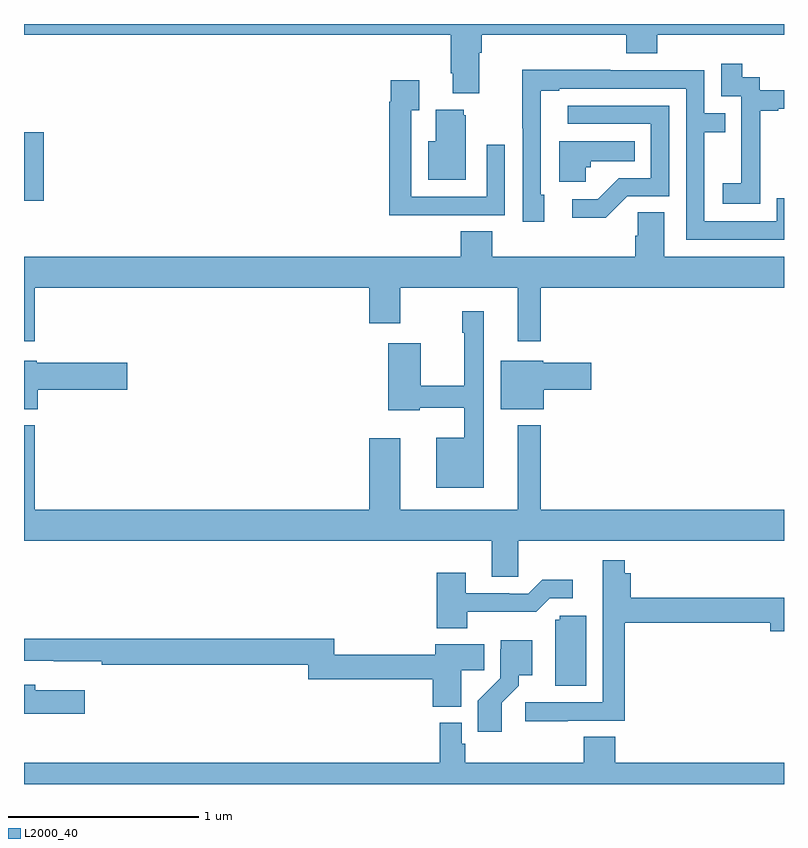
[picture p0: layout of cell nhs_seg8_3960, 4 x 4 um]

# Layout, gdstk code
import gdstk
lib = gdstk.Library(unit=1e-6, precision=1e-09)
def R(c, l, rs):  # rectangles x0, y0, x1, y1
    for r in rs: c.add(gdstk.rectangle(r[:2], r[2:], *l))
def P(c, l, *ps):  # polygons
    for p in ps: c.add(gdstk.Polygon(p, *l))
L2000_40 = (2000, 40)

nhs_seg8_3960 = lib.new_cell('nhs_seg8_3960')
R(nhs_seg8_3960, L2000_40, [(355,1104.97,355.103,1105.33)])
P(nhs_seg8_3960, L2000_40, [(357.397,1105.748),(357.41,1105.748),(357.41,1105.844),(358.169,1105.844),(358.169,1105.745),(358.334,1105.745),(358.334,1105.844),(359,1105.844),(359,1105.9),(355,1105.9),(355,1105.844),(357.245,1105.844),(357.245,1105.642),(357.257,1105.642),(357.257,1105.535),(357.397,1105.535)],
  [(358.875,1105.159),(358.874,1105.159),(358.874,1105.443),(358.969,1105.443),(358.969,1105.455),(359,1105.455),(359,1105.551),(358.872,1105.551),(358.872,1105.62),(358.78,1105.62),(358.78,1105.69),(358.671,1105.69),(358.671,1105.521),(358.776,1105.521),(358.776,1105.292),(358.775,1105.292),(358.775,1105.063),(358.677,1105.063),(358.677,1104.953),(358.875,1104.953)],
  [(359,1104.984),(358.962,1104.984),(358.962,1104.861),(358.581,1104.861),(358.581,1105.33),(358.691,1105.33),(358.691,1105.431),(358.581,1105.431),(358.581,1105.656),(358.085,1105.656),(358.085,1105.658),(357.622,1105.658),(357.622,1105.351),(357.624,1105.351),(357.624,1104.858),(357.739,1104.858),(357.739,1105.002),(357.72,1105.002),(357.72,1105.548),(357.817,1105.548),(357.817,1105.56),(358.485,1105.56),(358.485,1104.765),(359,1104.765)],
  [(357.215,1104.894),(357.531,1104.894),(357.531,1105.264),(357.435,1105.264),(357.435,1104.99),(357.039,1104.99),(357.039,1105.447),(357.079,1105.447),(357.079,1105.603),(356.931,1105.603),(356.931,1105.49),(356.923,1105.49),(356.923,1104.893),(357.215,1104.893)],
  [(358.176,1104.993),(358.395,1104.993),(358.395,1105.47),(357.861,1105.47),(357.861,1105.374),(358.299,1105.374),(358.299,1105.089),(358.13,1105.089),(358.019,1104.978),(357.885,1104.978),(357.885,1104.881),(358.063,1104.881)],
  [(357.325,1105.419),(357.314,1105.419),(357.314,1105.45),(357.167,1105.45),(357.167,1105.282),(357.128,1105.282),(357.128,1105.079),(357.325,1105.079)],
  [(357.957,1105.146),(357.984,1105.146),(357.984,1105.178),(358.214,1105.178),(358.214,1105.282),(357.818,1105.282),(357.818,1105.07),(357.957,1105.07)],
  [(355.057,1104.512),(356.816,1104.512),(356.816,1104.324),(356.98,1104.324),(356.98,1104.512),(357.599,1104.512),(357.599,1104.231),(357.721,1104.231),(357.721,1104.512),(359,1104.512),(359,1104.676),(358.369,1104.676),(358.369,1104.908),(358.23,1104.908),(358.23,1104.785),(358.217,1104.785),(358.217,1104.676),(357.464,1104.676),(357.464,1104.809),(357.299,1104.809),(357.299,1104.676),(355,1104.676),(355,1104.231),(355.057,1104.231)],
  [(357.421,1104.388),(357.307,1104.388),(357.307,1104.275),(357.317,1104.275),(357.317,1103.996),(357.088,1103.996),(357.088,1104.22),(356.918,1104.22),(356.918,1103.867),(357.084,1103.867),(357.084,1103.879),(357.317,1103.879),(357.317,1103.722),(357.17,1103.722),(357.17,1103.459),(357.421,1103.459)],
  [(355.072,1103.975),(355.543,1103.975),(355.543,1104.117),(355.068,1104.117),(355.068,1104.127),(355,1104.127),(355,1103.873),(355.072,1103.873)],
  [(357.736,1103.975),(357.985,1103.975),(357.985,1104.117),(357.732,1104.117),(357.732,1104.127),(357.509,1104.127),(357.509,1103.873),(357.736,1103.873)],
  [(357.6,1103.18),(359,1103.18),(359,1103.344),(357.721,1103.344),(357.721,1103.788),(357.599,1103.788),(357.599,1103.344),(356.98,1103.344),(356.98,1103.719),(356.816,1103.719),(356.816,1103.344),(355.057,1103.344),(355.057,1103.788),(355,1103.788),(355,1103.18),(357.461,1103.18),(357.461,1102.99),(357.6,1102.99)],
  [(357.863,1102.233),(358.163,1102.233),(358.163,1102.75),(358.928,1102.75),(358.928,1102.703),(359,1102.703),(359,1102.879),(358.193,1102.879),(358.193,1103.008),(358.163,1103.008),(358.163,1103.077),(358.047,1103.077),(358.047,1102.329),(357.639,1102.329),(357.639,1102.231),(357.863,1102.231)],
  [(357.333,1102.806),(357.695,1102.806),(357.768,1102.878),(357.889,1102.878),(357.889,1102.975),(357.727,1102.975),(357.654,1102.902),(357.554,1102.902),(357.554,1102.905),(357.325,1102.905),(357.325,1103.011),(357.173,1103.011),(357.173,1102.721),(357.333,1102.721)],
  [(357.958,1102.785),(357.819,1102.785),(357.819,1102.764),(357.797,1102.764),(357.797,1102.416),(357.958,1102.416)],
  [(357.301,1102.498),(357.422,1102.498),(357.422,1102.636),(357.164,1102.636),(357.164,1102.58),(356.633,1102.58),(356.633,1102.664),(355,1102.664),(355,1102.548),(355.156,1102.548),(355.156,1102.547),(355.408,1102.547),(355.408,1102.528),(356.497,1102.528),(356.497,1102.452),(357.152,1102.452),(357.152,1102.307),(357.301,1102.307)],
  [(357.514,1102.327),(357.604,1102.417),(357.604,1102.472),(357.676,1102.472),(357.676,1102.657),(357.509,1102.657),(357.509,1102.608),(357.507,1102.608),(357.507,1102.457),(357.388,1102.338),(357.388,1102.176),(357.514,1102.176)],
  [(355.321,1102.393),(355.06,1102.393),(355.06,1102.422),(355,1102.422),(355,1102.271),(355.321,1102.271)],
  [(359,1102.012),(358.112,1102.012),(358.112,1102.148),(357.947,1102.148),(357.947,1102.012),(357.323,1102.012),(357.323,1102.113),(357.303,1102.113),(357.303,1102.222),(357.187,1102.222),(357.187,1102.012),(355,1102.012),(355,1101.9),(359,1101.9)])

lib.write_gds('nhs_seg8_3960.gds')
